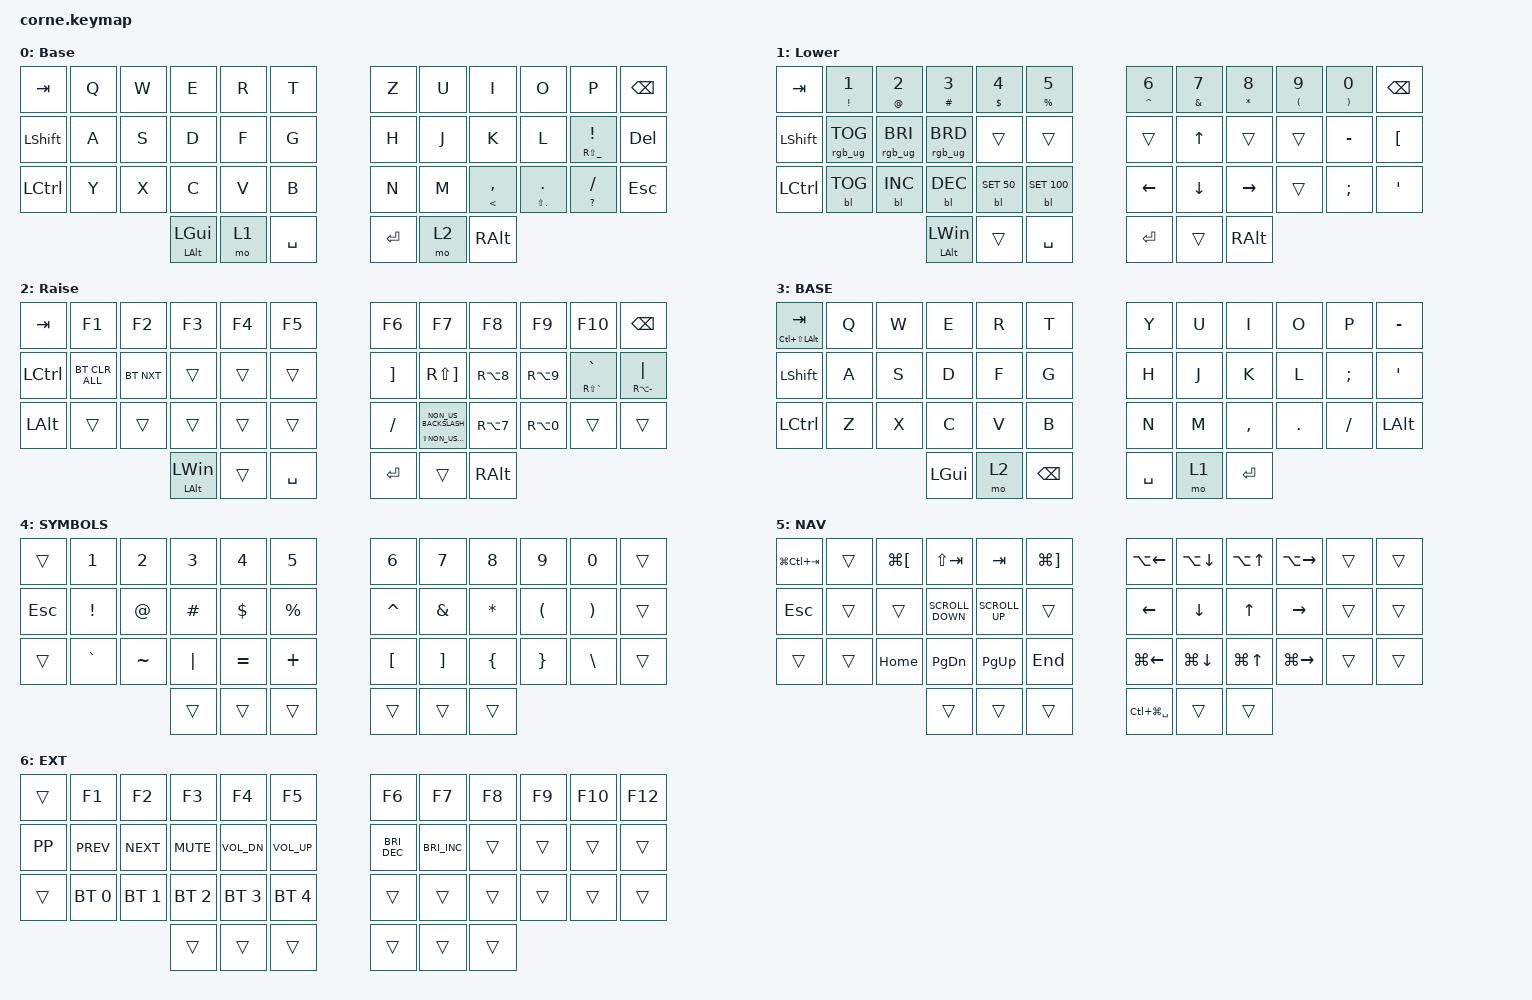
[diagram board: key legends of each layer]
/*
 * Copyright (c) 2020 The ZMK Contributors
 *
 * SPDX-License-Identifier: MIT
 */

#include <behaviors.dtsi>
#include <dt-bindings/zmk/backlight.h>
#include <dt-bindings/zmk/bt.h>
#include <dt-bindings/zmk/keys.h>
#include <dt-bindings/zmk/rgb.h>

/ {
    behaviors {
        HMR: HMR {
            compatible = "zmk,behavior-hold-tap";
            label = "HMR";
            bindings = <&kp>, <&kp>;

            #binding-cells = <2>;
            tapping-term-ms = <280>;
            quick-tap-ms = <175>;
            hold-trigger-key-positions = <0 1 2 3 4 5 12 13 14 15 16 17 24 25 26 27 28 29 36 37 38 39 40 41>;
            flavor = "tap-preferred";
        };

        HML: HML {
            compatible = "zmk,behavior-hold-tap";
            label = "HML";
            bindings = <&kp>, <&kp>;

            #binding-cells = <2>;
            tapping-term-ms = <280>;
            quick-tap-ms = <175>;
            flavor = "tap-preferred";
            hold-trigger-key-positions = <6 7 8 9 10 11 18 19 20 21 22 23 30 31 32 33 34 35 39 40 41 38 37 36>;
        };
    };

    macros {
        SS: SS {
            compatible = "zmk,behavior-macro";
            #binding-cells = <0>;
            bindings =
                <&macro_press>,
                <&kp N0 &kp X &kp N0 &kp N0 &kp LS(D) &kp LS(F)>;

            label = "SS";
            wait-ms = <0>;
            tap-ms = <0>;
        };

        UE: UE {
            compatible = "zmk,behavior-macro";
            #binding-cells = <0>;
            bindings =
                <&macro_press>,
                <&kp N0 &kp X &kp N0 &kp N0 &kp LS(E) &kp N4>;

            label = "UE";
        };

        OE: OE {
            compatible = "zmk,behavior-macro";
            #binding-cells = <0>;
            bindings =
                <&macro_press>,
                <&kp N0 &kp X &kp N0 &kp N0 &kp LS(F) &kp N6>;

            label = "OE";
        };

        AE: AE {
            compatible = "zmk,behavior-macro";
            #binding-cells = <0>;
            bindings =
                <&macro_press>,
                <&kp N0 &kp X &kp N0 &kp N0 &kp LS(F) &kp LS(C)>;

            label = "AE";
        };
    };

    keymap {
        compatible = "zmk,keymap";

        default_layer {
            // -----------------------------------------------------------------------------------------
            // |  TAB |  Q  |  W  |  E  |  R  |  T  |   |  Y  |  U   |  I  |  O  |  P  | BKSP |
            // | CTRL |  A  |  S  |  D  |  F  |  G  |   |  H  |  J   |  K  |  L  |  ;  |  '   |
            // | SHFT |  Z  |  X  |  C  |  V  |  B  |   |  N  |  M   |  ,  |  .  |  /  | ESC  |
            //                    | GUI | LWR | SPC |   | ENT | RSE  | ALT |

            display-name = "Base";
            bindings = <
&kp TAB    &kp Q  &kp W  &kp E               &kp R  &kp T        &kp Z    &kp U  &kp I                 &kp O                &kp P                            &kp BSPC
&kp LSHFT  &kp A  &kp S  &kp D               &kp F  &kp G        &kp H    &kp J  &kp K                 &kp L                &HMR RS(UNDERSCORE) EXCLAMATION  &kp DELETE
&kp LCTRL  &kp Y  &kp X  &kp C               &kp V  &kp B        &kp N    &kp M  &HML LESS_THAN COMMA  &HML LS(DOT) PERIOD  &HML QUESTION SLASH              &kp ESC
                         &HMR LALT LEFT_GUI  &mo 1  &kp SPACE    &kp RET  &mo 2  &kp RALT
            >;
        };

        lower_layer {
            // -----------------------------------------------------------------------------------------
            // |  TAB |  1  |  2  |  3  |  4  |  5  |   |  6  |  7  |  8  |  9  |  0  | BKSP |
            // | BTCLR| BT1 | BT2 | BT3 | BT4 | BT5 |   | LFT | DWN |  UP | RGT |     |      |
            // | SHFT |     |     |     |     |     |   |     |     |     |     |     |      |
            //                    | GUI |     | SPC |   | ENT |     | ALT |

            display-name = "Lower";
            bindings = <
&kp TAB    &HML EXCLAMATION NUMBER_1  &HML AT_SIGN NUMBER_2  &HML HASH NUMBER_3  &HML DOLLAR NUMBER_4  &HML PERCENT N5    &HMR CARET NUMBER_6  &HML AMPERSAND N7  &HMR ASTERISK N8  &HMR LEFT_PARENTHESIS N9  &HMR RIGHT_PARENTHESIS N0  &kp BSPC
&kp LSHFT  &rgb_ug RGB_TOG            &rgb_ug RGB_BRI        &rgb_ug RGB_BRD     &trans                &trans             &trans               &kp UP_ARROW       &trans            &trans                    &kp MINUS                  &kp LEFT_BRACKET
&kp LCTRL  &bl BL_TOG                 &bl BL_INC             &bl BL_DEC          &bl BL_SET 50         &bl BL_SET 100     &kp LEFT             &kp DOWN_ARROW     &kp RIGHT         &trans                    &kp SEMICOLON              &kp SQT
                                                             &HMR LALT LEFT_WIN  &trans                &kp SPACE          &kp RET              &trans             &kp RALT
            >;
        };

        raise_layer {
            // -----------------------------------------------------------------------------------------
            // |  TAB |  !  |  @  |  #  |  $  |  %  |   |  ^  |  &  |  *  |  (  |  )  | BKSP |
            // | CTRL |     |     |     |     |     |   |  -  |  =  |  [  |  ]  |  \  |  `   |
            // | SHFT |     |     |     |     |     |   |  _  |  +  |  {  |  }  | "|" |  ~   |
            //                    | GUI |     | SPC |   | ENT |     | ALT |

            display-name = "Raise";
            bindings = <
&kp TAB    &kp F1          &kp F2      &kp F3              &kp F4  &kp F5       &kp F6             &kp F7                                      &kp F8      &kp F9      &kp F10               &kp BSPC
&kp LCTRL  &bt BT_CLR_ALL  &bt BT_NXT  &trans              &trans  &trans       &kp RIGHT_BRACKET  &kp RS(RIGHT_BRACKET)                       &kp RA(N8)  &kp RA(N9)  &HMR RS(GRAVE) GRAVE  &HMR RA(MINUS) PIPE
&kp LALT   &trans          &trans      &trans              &trans  &trans       &kp SLASH          &HML LS(NON_US_BACKSLASH) NON_US_BACKSLASH  &kp RA(N7)  &kp RA(N0)  &trans                &trans
                                       &HMR LALT LEFT_WIN  &trans  &kp SPACE    &kp RET            &trans                                      &kp RALT
            >;
        };

        extra_1 { status = "reserved"; };

        extra_2 { status = "reserved"; };

        extra_3 { status = "reserved"; };
    };
};
#include <behaviors.dtsi>
#include <dt-bindings/zmk/bt.h>
#include <dt-bindings/zmk/keys.h>
#include <dt-bindings/zmk/rgb.h>

&led_strip {
  chain-length = <0>;
  // chain-length = <27>;
  // 21 backlight + 6 glowlight
};


#define TAPPING_TERM 200

/ {
  behaviors {
    /*
    * td_lock groups locking functions into one key:
    *  - tap once to lock the host
    *  - tap twice to put the host to sleep
    */

    td_lock: tap_dance_lock {
      compatible = "zmk,behavior-tap-dance";
      label = "TAP_DANCE_LOCK";
      #binding-cells = <0>;
      tapping-term-ms = <TAPPING_TERM>;
      bindings = <&kp LG(LC(Q))>, <&kp LG(LA(C_EJECT))>;
    };
  };

  combos {
    compatible = "zmk,combos";

    Clear_BLE_Profile {
      bindings = <&bt BT_CLR>;
      key-positions = <0 38 5>;
    };

    Space {
      bindings = <&kp SPACE>;
      key-positions = <29 28>;
    };

    Enter {
      bindings = <&kp ENTER>;
      key-positions = <17 16>;
    };

    Capslock {
      bindings = <&kp CLCK>;
      key-positions = <5 6>;
    };
  };

  macros {
    git_status: git_status {
      compatible = "zmk,behavior-macro";
      #binding-cells = <0>;
      bindings = <&kp G &kp I &kp T &kp SPACE &kp S &kp T &kp A &kp T &kp U &kp S>;
      label = "GIT_STATUS";
    };
    git_commit_all: git_commit_all {
      compatible = "zmk,behavior-macro";
      #binding-cells = <0>;
      bindings = <&kp G &kp I &kp T &kp SPACE &kp C &kp O &kp M &kp M &kp I &kp T &kp SPACE &kp MINUS &kp A &kp MINUS &kp M &kp SPACE &kp DQT &kp DQT &kp LEFT_ARROW>;
      label = "GIT_COMMIT";
    };
  };

  keymap {
    compatible = "zmk,keymap";

    base_layer {
      label = "BASE";
      bindings = <
&mt LC(LS(LALT)) TAB  &kp Q  &kp W  &kp E         &kp R           &kp T       &kp Y      &kp U           &kp I      &kp O    &kp P      &kp MINUS
&kp LSHIFT            &kp A  &kp S  &kp D         &kp F           &kp G       &kp H      &kp J           &kp K      &kp L    &kp SEMI   &kp SINGLE_QUOTE
&kp LEFT_CONTROL      &kp Z  &kp X  &kp C         &kp V           &kp B       &kp N      &kp M           &kp COMMA  &kp DOT  &kp SLASH  &kp LEFT_ALT
                                    &kp LEFT_GUI  &mo 2  &kp BSPC    &kp SPACE  &mo 1  &kp ENTER
      >;
    };

    symbols_layer {
      label = "SYMBOLS";
      bindings = <
&trans   &kp N1    &kp N2  &kp N3    &kp N4    &kp N5     &kp N6    &kp N7  &kp N8    &kp N9    &kp N0  &trans
&kp ESC  &kp EXCL  &kp AT  &kp HASH  &kp DLLR  &kp PRCNT    &kp CARET  &kp AMPS   &kp ASTERISK  &kp LPAR          &kp RPAR           &trans
&trans         &kp GRAVE  &kp TILDE   &kp PIPE    &kp EQUAL  &kp PLUS        &kp LEFT_BRACKET  &kp RIGHT_BRACKET        &kp LEFT_BRACE    &kp RIGHT_BRACE    &kp BACKSLASH &trans
                           &trans    &trans    &trans       &trans     &trans     &trans
      >;
    };

    nav_layer {
      label = "NAV";
      bindings = <
&kp LG(LC(TAB))          &trans  &kp LG(LEFT_BRACKET)  &kp LS(TAB)        &kp TAB          &kp LG(RIGHT_BRACKET)    &kp LA(LEFT)       &kp LA(DOWN)  &kp LA(UP)  &kp LA(RIGHT)  &trans  &trans
&kp ESC           &trans  &trans                &kp K_SCROLL_DOWN  &kp K_SCROLL_UP  &trans                   &kp LEFT           &kp DOWN      &kp UP      &kp RIGHT      &trans  &trans
&trans  &trans  &kp HOME              &kp PG_DN          &kp PG_UP        &kp END                  &kp LG(LEFT)       &kp LG(DOWN)  &kp LG(UP)  &kp LG(RIGHT)  &trans  &trans
                                               &trans             &trans           &trans                   &kp LC(LG(SPACE))  &trans        &trans
      >;
    };

    extended_layer {
      label = "EXT";
      bindings = <
&trans  &kp F1        &kp F2        &kp F3        &kp F4        &kp F5          &kp F6           &kp F7           &kp F8           &kp F9                &kp F10               &kp F12
&kp K_PP  &kp K_PREV        &kp K_NEXT     &kp K_MUTE    &kp C_VOL_DN  &kp C_VOL_UP     &kp C_BRIGHTNESS_DEC  &kp C_BRIGHTNESS_INC  &trans &trans &trans           &trans
&trans  &bt BT_SEL 0  &bt BT_SEL 1  &bt BT_SEL 2  &bt BT_SEL 3  &bt BT_SEL 4     &trans        &trans          &trans           &trans           &trans  &trans    
                                    &trans        &trans        &trans          &trans           &trans           &trans
      >;
    };
  };

  conditional_layers {
    compatible = "zmk,conditional-layers";

    Activate_EXT {
      if-layers = <1 2>;
      then-layer = <3>;
    };
  };
};
